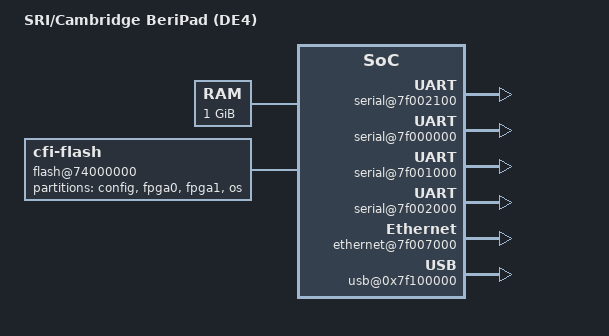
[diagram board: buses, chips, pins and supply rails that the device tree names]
/*-
 * Copyright (c) 2012-2013 Robert N. M. Watson
 * Copyright (c) 2013 SRI International
 * All rights reserved.
 *
 * This software was developed by SRI International and the University of
 * Cambridge Computer Laboratory under DARPA/AFRL contract (FA8750-10-C-0237)
 * ("CTSRD"), as part of the DARPA CRASH research programme.
 *
 * Redistribution and use in source and binary forms, with or without
 * modification, are permitted provided that the following conditions
 * are met:
 * 1. Redistributions of source code must retain the above copyright
 *    notice, this list of conditions and the following disclaimer.
 * 2. Redistributions in binary form must reproduce the above copyright
 *    notice, this list of conditions and the following disclaimer in the
 *    documentation and/or other materials provided with the distribution.
 *
 * THIS SOFTWARE IS PROVIDED BY THE AUTHOR AND CONTRIBUTORS ``AS IS'' AND
 * ANY EXPRESS OR IMPLIED WARRANTIES, INCLUDING, BUT NOT LIMITED TO, THE
 * IMPLIED WARRANTIES OF MERCHANTABILITY AND FITNESS FOR A PARTICULAR PURPOSE
 * ARE DISCLAIMED.  IN NO EVENT SHALL THE AUTHOR OR CONTRIBUTORS BE LIABLE
 * FOR ANY DIRECT, INDIRECT, INCIDENTAL, SPECIAL, EXEMPLARY, OR CONSEQUENTIAL
 * DAMAGES (INCLUDING, BUT NOT LIMITED TO, PROCUREMENT OF SUBSTITUTE GOODS
 * OR SERVICES; LOSS OF USE, DATA, OR PROFITS; OR BUSINESS INTERRUPTION)
 * HOWEVER CAUSED AND ON ANY THEORY OF LIABILITY, WHETHER IN CONTRACT, STRICT
 * LIABILITY, OR TORT (INCLUDING NEGLIGENCE OR OTHERWISE) ARISING IN ANY WAY
 * OUT OF THE USE OF THIS SOFTWARE, EVEN IF ADVISED OF THE POSSIBILITY OF
 * SUCH DAMAGE.
 *
 * $FreeBSD$
 */

/dts-v1/;

/*
 * Device names here have been largely made up on the spot, especially for the
 * "compatible" strings, and might want to be revised.
 *
 * For now, use 32-bit addressing as our Avalon bus is 32-bit.  However, in
 * the future, we should likely change to 64-bit.
 */

/ {
	model = "SRI/Cambridge BeriPad (DE4)";
	compatible = "sri-cambridge,beripad-de4";
	#address-cells = <1>;
	#size-cells = <1>;

	cpus {
		#address-cells = <1>;
		#size-cells = <1>;

		/*
		 * Secondary CPUs all start disabled and use the
		 * spin-table enable method.  cpu-release-addr must be
		 * specified for each cpu other than cpu@0.  Values of
		 * cpu-release-addr grow down from 0x100000 (kernel).
		 */
		status = "disabled";
		enable-method = "spin-table";

		cpu@0 {
			device-type = "cpu";
			compatible = "sri-cambridge,beri";

			reg = <0 1>;
			status = "okay";
		};

/*
		cpu@1 {
			device-type = "cpu";
			compatible = "sri-cambridge,beri";

			reg = <1 1>;
			// XXX: should we need cached prefix?
			cpu-release-addr = <0xffffffff 0x800fffe0>;
		};
*/
	};

	memory {
		device_type = "memory";
		reg = <0x0 0x40000000>;		// 1G at 0x0
	};

	cpuintc: cpuintc@0 {
		#address-cells = <0>;
		#interrupt-cells = <1>;
		interrupt-controller;
		compatible = "mti,cpu-interrupt-controller";
	};

	beripic0: beripic@7f804000 {
		compatible = "sri-cambridge,beri-pic";
		interrupt-controller;
		#address-cells = <0>;
		#interrupt-cells = <1>;
		reg = <0x7f804000 0x400
		       0x7f806000 0x10
		       0x7f806080 0x10
		       0x7f806100 0x10>;
		interrupts = < 2 3 4 5 6 >;
		hard-interrupt-sources = <64>;
		soft-interrupt-sources = <64>;
		interrupt-parent = <&cpuintc>;
	};

/*
	beripic1: beripic@7f808000 {
		compatible = "sri-cambridge,beri-pic";
		interrupt-controller;
		#address-cells = <0>;
		#interrupt-cells = <1>;
		reg = <0x7f808000 0x400
		       0x7f80a000 0x10
		       0x7f80a080 0x10
		       0x7f80a100 0x10>;
		interrupts = < 2 3 4 5 6 >;
		hard-interrupt-sources = <64>;
		soft-interrupt-sources = <64>;
		interrupt-parent = <&cpuintc>;
	};
*/

	soc {
		#address-cells = <1>;
		#size-cells = <1>;
		#interrupt-cells = <1>;

		compatible = "simple-bus", "mips,mips4k";
		ranges;

		serial@7f002100 {
			compatible = "ns16550";
			reg = <0x7f002100 0x20>;
			reg-shift = <2>;
			clock-frequency = <50000000>;
			interrupts = <6>;
			interrupt-parent = <&beripic0>;
		};

		serial@7f000000 {
			compatible = "altera,jtag_uart-11_0";
			reg = <0x7f000000 0x40>;
			interrupts = <0>;
			interrupt-parent = <&beripic0>;
		};

		serial@7f001000 {
			compatible = "altera,jtag_uart-11_0";
			reg = <0x7f001000 0x40>;
		};

		serial@7f002000 {
			compatible = "altera,jtag_uart-11_0";
			reg = <0x7f002000 0x40>;
		};

		sdcard@7f008000 {
			compatible = "altera,sdcard_11_2011";
			reg = <0x7f008000 0x400>;
		};

		led@7f006000 {
			compatible = "sri-cambridge,de4led";
			reg = <0x7f006000 0x1>;
		};

		/*
		 * XXX-BZ keep flash before ethernet so that atse can read the
		 * Ethernet addresses for now.
		 */
		flash@74000000 {
			#address-cells = <1>;
			#size-cells = <1>;
			compatible = "cfi-flash";
			reg = <0x74000000 0x4000000>;

			/* Board configuration */
			partition@0 {
				reg = <0x0 0x20000>;
				label = "config";
			};

			/* Power up FPGA image */
			partition@20000 {
				reg = <0x20000 0xc00000>;
				label = "fpga0";
			};

			/* Secondary FPGA image (on RE_CONFIGn button) */
			partition@C20000 {
				reg = <0xc20000 0xc00000>;
				label = "fpga1";
			};

			/* Space for operating system use */
			partition@1820000 {
				reg = <0x1820000 0x027c0000>;
				label = "os";
			};

			/* Second stage bootloader */
			parition@3fe0000 {
				reg = <0x3fe0000 0x20000>;
				label = "boot";
			};
		};

		msgdma0: msgdma@80004080 { 
			compatible = "altr,msgdma-16.0", "altr,msgdma-1.0"; 
			reg = <0x80004080 0x00000020>,
			      <0x800040a0 0x00000020>; 
			reg-names = "csr", "descriptor_slave"; 
			interrupts = <14>;
			interrupt-parent = <&beripic0>;
			#dma-cells = <3>;
		}; 

		msgdma1: msgdma@80004000 { 
			compatible = "altr,msgdma-16.0", "altr,msgdma-1.0"; 
			reg = <0x80004000 0x00000020>,
			      <0x80004020 0x00000020>; 
			reg-names = "csr", "descriptor_slave"; 
			interrupts = <13>;
			interrupt-parent = <&beripic0>;
			#dma-cells = <3>;
		}; 

		softdma0: softdma@7f007400 {
			compatible = "altr,softdma";
			reg = < 0x7f007400 0x8		/* tx */
				0x7f007420 0x20 >;	/* txc */
			interrupts = <2>;
			interrupt-parent = <&beripic0>;
			#dma-cells = <3>;
		};

		softdma1: softdma@7f007500 {
			compatible = "altr,softdma";
			reg = < 0x7f007500 0x8		/* rx */
				0x7f007520 0x20 >;	/* rxc */
			interrupts = <1>;
			interrupt-parent = <&beripic0>;
			#dma-cells = <3>;
		};

		softdma2: softdma@7f005400 {
			compatible = "altr,softdma";
			reg = < 0x7f005400 0x8		/* tx */
				0x7f005420 0x20 >;	/* txc */
			interrupts = <12>;
			interrupt-parent = <&beripic0>;
			#dma-cells = <3>;
		};

		softdma3: softdma@7f005500 {
			compatible = "altr,softdma";
			reg = < 0x7f005500 0x8		/* rx */
				0x7f005520 0x20 >;	/* rxc */
			interrupts = <11>;
			interrupt-parent = <&beripic0>;
			#dma-cells = <3>;
		};

		ethernet@80007000 {
			compatible = "altera,atse";
			reg = <0x80007000 0x400>;		/* mac */
			dmas = <&msgdma0 0 0 0xffffffff>,
			       <&msgdma1 1 1 0xffffffff>;
			dma-names = "tx", "rx";
			status = "disabled";
		};

		ethernet@7f007000 {
			compatible = "altera,atse";
			reg = <0x7f007000 0x400>;		/* mac */
			dmas = <&softdma0 0 0 0xffffffff>,
			       <&softdma1 1 1 0xffffffff>;
			dma-names = "tx", "rx";
			status = "okay";
		};

		ethernet@7f005000 {
			compatible = "altera,atse";
			reg = <0x7f005000 0x400>;
			dmas = <&softdma2 0 0 0xffffffff>,
			       <&softdma3 1 1 0xffffffff>;
			dma-names = "tx", "rx";
			status = "disabled";
		};

		touchscreen@70400000 {
			compatible = "sri-cambridge,mtl";
			panel-size = < 800 480 >;
			reg = <0x70400000 0x1000
			       0x70000000 0x177000
			       0x70177000 0x2000>;
		};

		usb@0x7f100000 {
			compatible = "nxp,usb-isp1761";
			reg = <0x7f100000 0x40000
			       0x7f140000 0x4>;
			// IRQ 4 is DC, IRQ 5 is HC.
			interrupts = <4 5>;
			interrupt-parent = <&beripic0>;
		};

		avgen@0x7f009000 {
			compatible = "sri-cambridge,avgen";
			reg = <0x7f009000 0x2>;	
			sri-cambridge,width = <1>;
			sri-cambridge,fileio = "r";
			sri-cambridge,devname = "de4bsw";
		};

		avgen@0x7f00a000 {
			compatible = "sri-cambridge,avgen";
			reg = <0x7f00a000 0x14>;
			sri-cambridge,width = <4>;
			sri-cambridge,fileio = "rw";
			sri-cambridge,devname = "berirom";
		};

		avgen@0x7f00c000 {
			compatible = "sri-cambridge,avgen";
			reg = <0x7f00c000 0x8>;
			sri-cambridge,width = <4>;
			sri-cambridge,fileio = "rw";
			sri-cambridge,devname = "de4tempfan";
		};
	};
};
